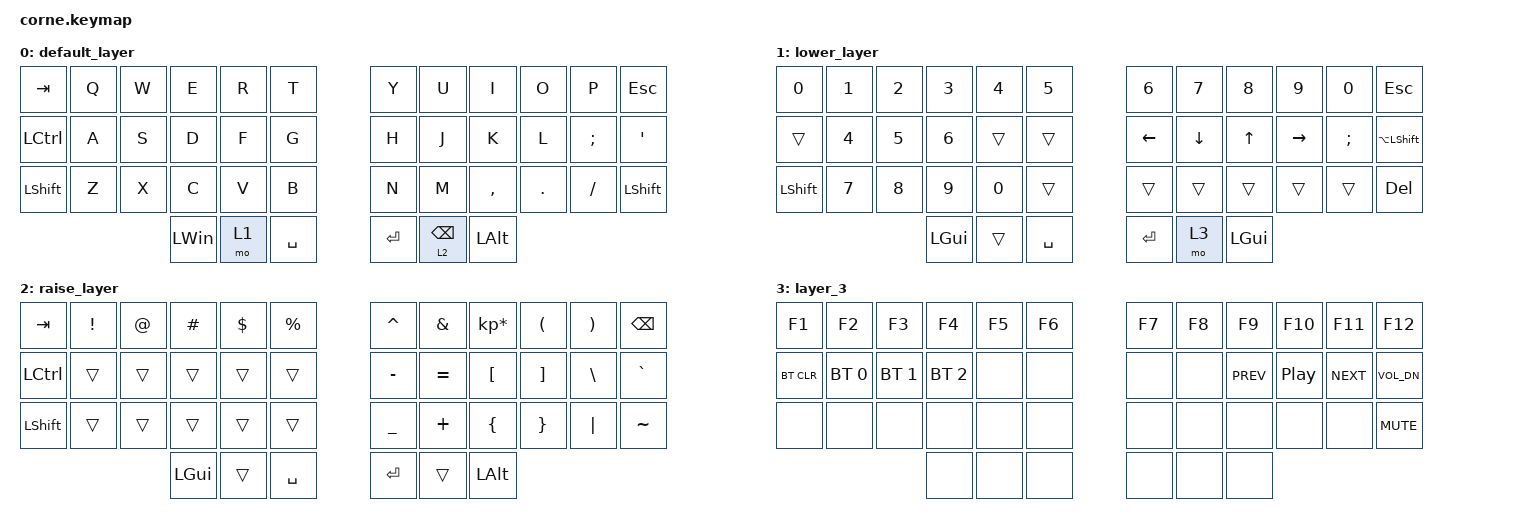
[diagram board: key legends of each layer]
/*
 * Copyright (c) 2020 The ZMK Contributors
 *
 * SPDX-License-Identifier: MIT
 */

#include <behaviors.dtsi>
#include <dt-bindings/zmk/bt.h>
#include <dt-bindings/zmk/keys.h>
#include <dt-bindings/zmk/keys.h>

/ {
    combos {
        compatible = "zmk,combos";

        compo_r_brkts {
            bindings = <&kp RIGHT_BRACKET>;
            key-positions = <18 19>;
            timeout-ms = <500>;
            require-prior-idle-ms = <500>;
        };

        combo_L_brkts {
            bindings = <&kp LEFT_BRACKET>;
            key-positions = <16 17>;
            timeout-ms = <500>;
            require-prior-idle-ms = <500>;
        };

        combo_left_esc {
            bindings = <&kp ESCAPE>;
            key-positions = <15 16>;
            timeout-ms = <500>;
            require-prior-idle-ms = <500>;
        };

        combo_right_esc {
            bindings = <&kp ESCAPE>;
            key-positions = <19 20>;
            timeout-ms = <500>;
            require-prior-idle-ms = <500>;
        };

        left_bracket {
            bindings = <&kp LEFT_PARENTHESIS>;
            key-positions = <4 5>;
            timeout-ms = <230>;
            require-prior-idle-ms = <230>;
        };

        right_breacket {
            bindings = <&kp RIGHT_PARENTHESIS>;
            key-positions = <6 7>;
            timeout-ms = <230>;
            require-prior-idle-ms = <230>;
        };
    };

    behaviors {
        td_alt_gui: td_alt_gui {
            compatible = "zmk,behavior-tap-dance";
            label = "TD_ALT_GUI";
            #binding-cells = <0>;
            bindings = <&kp LALT>, <&kp LEFT_GUI>;
        };

        tap_dance_gui: tap_dance_gui {
            compatible = "zmk,behavior-tap-dance";
            label = "TAP_DANCE_GUI";
            #binding-cells = <0>;
            bindings = <&kp LEFT_GUI>, <&tog 1>, <&kt LEFT_GUI>;
        };

        h_tap_modif: h_tap_modif {
            compatible = "zmk,behavior-hold-tap";
            label = "H_TAP_MODIF";
            bindings = <&kp>, <&kp>;

            #binding-cells = <2>;
            tapping-term-ms = <300>;
        };
    };

    keymap {
        compatible = "zmk,keymap";

        default_layer {
            // -----------------------------------------------------------------------------------------
            // |  TAB |  Q  |  W  |  E  |  R  |  T  |   |  Y  |  U   |  I  |  O  |  P  | BKSP |
            // | CTRL |  A  |  S  |  D  |  F  |  G  |   |  H  |  J   |  K  |  L  |  ;  |  '   |
            // | SHFT |  Z  |  X  |  C  |  V  |  B  |   |  N  |  M   |  ,  |  .  |  /  | ESC  |
            //                    | GUI | LWR | SPC |   | ENT | RSE  | ALT |

            bindings = <
&kp TAB    &kp Q  &kp W  &kp E         &kp R  &kp T        &kp Y    &kp U            &kp I      &kp O    &kp P          &kp ESC
&kp LCTRL  &kp A  &kp S  &kp D         &kp F  &kp G        &kp H    &kp J            &kp K      &kp L    &kp SEMICOLON  &kp SQT
&kp LSHFT  &kp Z  &kp X  &kp C         &kp V  &kp B        &kp N    &kp M            &kp COMMA  &kp DOT  &kp FSLH       &kp LSHFT
                         &kp LEFT_WIN  &mo 1  &kp SPACE    &kp RET  &lt 2 BACKSPACE  &kp LALT
            >;
        };

        lower_layer {
            // -----------------------------------------------------------------------------------------
            // |  TAB |  1  |  2  |  3  |  4  |  5  |   |  6  |  7  |  8  |  9  |  0  | BKSP |
            // | BTCLR| BT1 | BT2 | BT3 | BT4 | BT5 |   | LFT | DWN |  UP | RGT |     |      |
            // | SHFT |     |     |     |     |     |   |     |     |     |     |     |      |
            //                    | GUI |     | SPC |   | ENT |     | ALT |

            bindings = <
&kp N0     &kp N1        &kp N2  &kp N3        &kp N4  &kp N5       &kp NUMBER_6  &kp N7    &kp N8        &kp N9     &kp N0         &kp ESC
&trans     &kp NUMBER_4  &kp N5  &kp NUMBER_6  &trans  &trans       &kp LEFT      &kp DOWN  &kp UP        &kp RIGHT  &kp SEMICOLON  &kp LA(LSHIFT)
&kp LSHFT  &kp N7        &kp N8  &kp N9        &kp N0  &trans       &trans        &trans    &trans        &trans     &trans         &kp DEL
                                 &kp LGUI      &trans  &kp SPACE    &kp RET       &mo 3     &kp LEFT_GUI
            >;
        };

        raise_layer {
            // -----------------------------------------------------------------------------------------
            // |  TAB |  !  |  @  |  #  |  $  |  %  |   |  ^  |  &  |  *  |  (  |  )  | BKSP |
            // | CTRL |     |     |     |     |     |   |  -  |  =  |  [  |  ]  |  \  |  `   |
            // | SHFT |     |     |     |     |     |   |  _  |  +  |  {  |  }  | "|" |  ~   |
            //                    | GUI |     | SPC |   | ENT |     | ALT |

            bindings = <
&kp TAB    &kp EXCL  &kp AT  &kp HASH  &kp DLLR  &kp PRCNT    &kp CARET  &kp AMPS   &kp KP_MULTIPLY  &kp LPAR  &kp RPAR  &kp BSPC
&kp LCTRL  &trans    &trans  &trans    &trans    &trans       &kp MINUS  &kp EQUAL  &kp LBKT         &kp RBKT  &kp BSLH  &kp GRAVE
&kp LSHFT  &trans    &trans  &trans    &trans    &trans       &kp UNDER  &kp PLUS   &kp LBRC         &kp RBRC  &kp PIPE  &kp TILDE
                             &kp LGUI  &trans    &kp SPACE    &kp RET    &trans     &kp LEFT_ALT
            >;
        };

        layer_3 {
            bindings = <
&kp F1      &kp F2        &kp F3        &kp F4        &kp F5  &kp F6    &kp F7  &kp F8  &kp F9      &kp F10           &kp F11     &kp F12
&bt BT_CLR  &bt BT_SEL 0  &bt BT_SEL 1  &bt BT_SEL 2  &none   &none     &none   &none   &kp C_PREV  &kp C_PLAY_PAUSE  &kp C_NEXT  &kp C_VOL_DN
&none       &none         &none         &none         &none   &none     &none   &none   &none       &none             &none       &kp K_MUTE
                                        &none         &none   &none     &none   &none   &none
            >;
        };
    };
};
